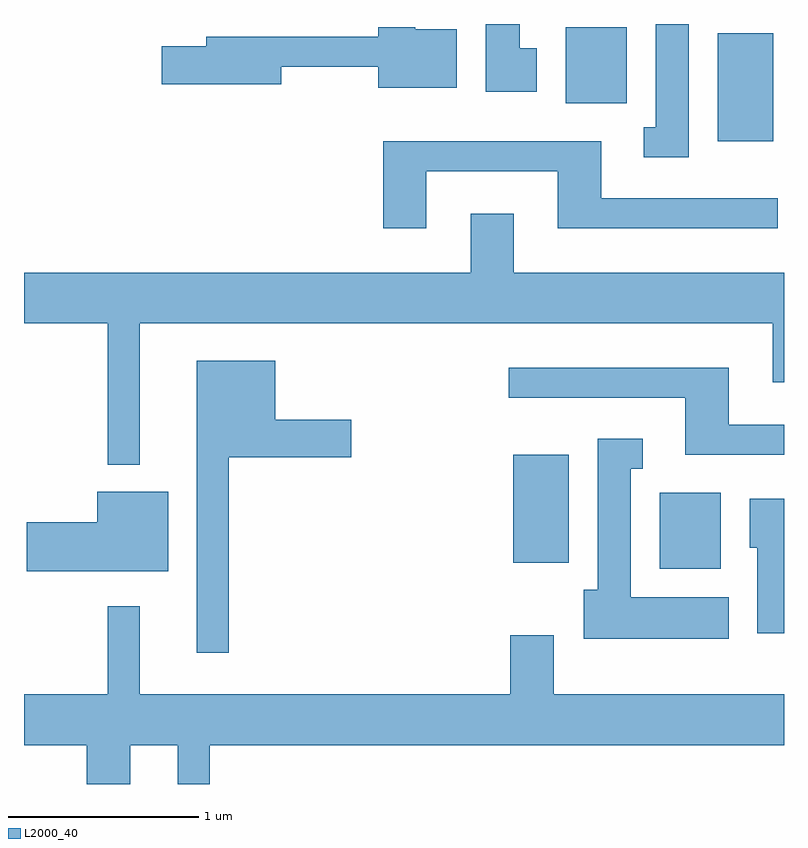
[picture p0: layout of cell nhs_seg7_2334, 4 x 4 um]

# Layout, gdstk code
import gdstk
lib = gdstk.Library(unit=1e-6, precision=1e-09)
def R(c, l, rs):  # rectangles x0, y0, x1, y1
    for r in rs: c.add(gdstk.rectangle(r[:2], r[2:], *l))
def P(c, l, *ps):  # polygons
    for p in ps: c.add(gdstk.Polygon(p, *l))
L2000_40 = (2000, 40)

nhs_seg7_2334 = lib.new_cell('nhs_seg7_2334')
R(nhs_seg7_2334, L2000_40, [(258.956,1797.386,259.279,1797.784), (258.186,1797.416,258.479,1797.984), (259.261,1799.636,259.554,1800.204), (258.461,1799.836,258.784,1800.234)])
P(nhs_seg7_2334, L2000_40, [(259.109,1800.252),(258.936,1800.252),(258.936,1799.709),(258.873,1799.709),(258.873,1799.551),(259.109,1799.551)],
  [(258.309,1800.124),(258.219,1800.124),(258.219,1800.252),(258.041,1800.252),(258.041,1799.896),(258.309,1799.896)],
  [(257.889,1800.224),(257.67,1800.224),(257.67,1800.234),(257.476,1800.234),(257.476,1800.184),(256.571,1800.184),(256.571,1800.134),(256.336,1800.134),(256.336,1799.936),(256.964,1799.936),(256.964,1800.026),(257.476,1800.026),(257.476,1799.916),(257.889,1799.916)],
  [(257.729,1799.476),(258.421,1799.476),(258.421,1799.176),(259.578,1799.176),(259.578,1799.334),(258.649,1799.334),(258.649,1799.634),(257.501,1799.634),(257.501,1799.176),(257.729,1799.176)],
  [(256.219,1798.676),(259.551,1798.676),(259.551,1798.366),(259.611,1798.366),(259.611,1798.944),(258.189,1798.944),(258.189,1799.254),(257.961,1799.254),(257.961,1798.944),(255.611,1798.944),(255.611,1798.676),(256.051,1798.676),(256.051,1797.933),(256.219,1797.933)],
  [(256.689,1797.971),(257.334,1797.971),(257.334,1798.169),(256.934,1798.169),(256.934,1798.479),(256.521,1798.479),(256.521,1796.943),(256.689,1796.943)],
  [(259.611,1798.144),(259.319,1798.144),(259.319,1798.444),(258.163,1798.444),(258.163,1798.286),(259.091,1798.286),(259.091,1797.986),(259.611,1797.986)],
  [(259.319,1797.234),(258.804,1797.234),(258.804,1797.911),(258.868,1797.911),(258.868,1798.069),(258.631,1798.069),(258.631,1797.274),(258.556,1797.274),(258.556,1797.016),(259.319,1797.016)],
  [(256.369,1797.789),(255.996,1797.789),(255.996,1797.629),(255.626,1797.629),(255.626,1797.371),(256.369,1797.371)],
  [(259.611,1797.754),(259.431,1797.754),(259.431,1797.496),(259.471,1797.496),(259.471,1797.046),(259.611,1797.046)],
  [(256.169,1796.456),(256.421,1796.456),(256.421,1796.252),(256.589,1796.252),(256.589,1796.456),(259.611,1796.456),(259.611,1796.724),(258.399,1796.724),(258.399,1797.034),(258.171,1797.034),(258.171,1796.724),(256.219,1796.724),(256.219,1797.188),(256.051,1797.188),(256.051,1796.724),(255.611,1796.724),(255.611,1796.456),(255.941,1796.456),(255.941,1796.252),(256.169,1796.252)])

lib.write_gds('nhs_seg7_2334.gds')
